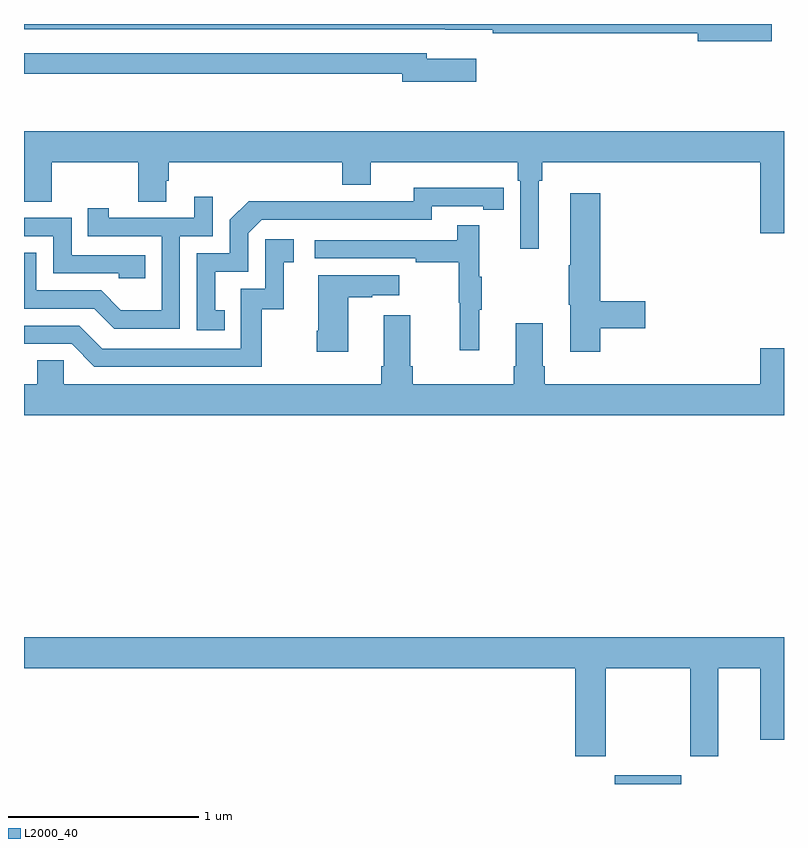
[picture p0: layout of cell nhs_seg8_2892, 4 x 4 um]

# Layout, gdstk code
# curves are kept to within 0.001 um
import gdstk
lib = gdstk.Library(unit=1e-6, precision=1e-09)
def R(c, l, rs):  # rectangles x0, y0, x1, y1
    for r in rs: c.add(gdstk.rectangle(r[:2], r[2:], *l))
def P(c, l, *ps):  # polygons
    for p in ps: c.add(gdstk.Polygon(p, *l))
L2000_40 = (2000, 40)

nhs_seg8_2892 = lib.new_cell('nhs_seg8_2892')
R(nhs_seg8_2892, L2000_40, [(296.108,1107.9,296.458,1107.946)])
P(nhs_seg8_2892, L2000_40, [(296.935,1111.9),(293,1111.9),(293,1111.872),(295.216,1111.872),(295.216,1111.871),(295.468,1111.871),(295.468,1111.852),(296.546,1111.852),(296.546,1111.81),(296.935,1111.81)],
  [(295.381,1111.717),(295.12,1111.717),(295.12,1111.746),(293,1111.746),(293,1111.638),(294.992,1111.638),(294.992,1111.595),(295.381,1111.595)],
  [(295.708,1111.076),(295.727,1111.076),(295.727,1111.172),(296.876,1111.172),(296.876,1110.798),(297,1110.798),(297,1111.336),(293,1111.336),(293,1110.964),(293.145,1110.964),(293.145,1111.172),(293.602,1111.172),(293.602,1110.964),(293.749,1110.964),(293.749,1111.074),(293.762,1111.074),(293.762,1111.172),(294.674,1111.172),(294.674,1111.055),(294.826,1111.055),(294.826,1111.172),(295.598,1111.172),(295.598,1111.076),(295.611,1111.076),(295.611,1110.717),(295.708,1110.717)],
  [(294.056,1110.393),(294.007,1110.393),(294.007,1110.597),(294.18,1110.597),(294.18,1110.798),(294.252,1110.87),(295.146,1110.87),(295.146,1110.942),(295.418,1110.942),(295.418,1110.922),(295.526,1110.922),(295.526,1111.038),(295.05,1111.039),(295.05,1110.966),(294.59,1110.966),(294.59,1110.968),(294.182,1110.968),(294.084,1110.87),(294.084,1110.693),(293.91,1110.693),(293.91,1110.288),(294.056,1110.288)],
  [(296.033,1110.298),(296.269,1110.298),(296.269,1110.44),(296.033,1110.44),(296.033,1111.009),(295.874,1111.009),(295.874,1110.629),(295.867,1110.629),(295.867,1110.423),(295.874,1110.423),(295.874,1110.174),(296.033,1110.174)],
  [(293.82,1110.783),(293.994,1110.783),(293.994,1110.991),(293.897,1110.991),(293.897,1110.879),(293.446,1110.879),(293.446,1110.931),(293.335,1110.931),(293.335,1110.783),(293.724,1110.783),(293.724,1110.394),(293.51,1110.394),(293.406,1110.498),(293.064,1110.498),(293.064,1110.697),(293,1110.697),(293,1110.402),(293.369,1110.402),(293.474,1110.297),(293.82,1110.297)],
  [(293.639,1110.684),(293.25,1110.684),(293.25,1110.879),(293,1110.879),(293,1110.783),(293.154,1110.783),(293.154,1110.588),(293.499,1110.588),(293.499,1110.561),(293.639,1110.561)],
  [(295.397,1110.395),(295.408,1110.395),(295.408,1110.569),(295.397,1110.569),(295.397,1110.841),(295.279,1110.841),(295.279,1110.762),(294.531,1110.762),(294.531,1110.666),(295.063,1110.666),(295.063,1110.646),(295.287,1110.646),(295.287,1110.432),(295.294,1110.432),(295.294,1110.183),(295.397,1110.183)],
  [(294.25,1110.399),(294.368,1110.399),(294.368,1110.645),(294.421,1110.645),(294.421,1110.766),(294.27,1110.766),(294.27,1110.507),(294.141,1110.507),(294.141,1110.192),(293.412,1110.192),(293.292,1110.312),(293,1110.312),(293,1110.216),(293.25,1110.216),(293.37,1110.096),(294.25,1110.096)],
  [(294.706,1110.463),(294.833,1110.463),(294.833,1110.473),(294.976,1110.473),(294.976,1110.577),(294.548,1110.577),(294.548,1110.286),(294.541,1110.286),(294.541,1110.174),(294.706,1110.174)],
  [(297,1110.193),(296.876,1110.193),(296.876,1110.004),(295.742,1110.004),(295.742,1110.1),(295.729,1110.1),(295.729,1110.325),(295.589,1110.325),(295.589,1110.1),(295.577,1110.1),(295.577,1110.004),(295.046,1110.004),(295.046,1110.1),(295.033,1110.1),(295.033,1110.367),(294.893,1110.367),(294.893,1110.1),(294.881,1110.1),(294.881,1110.004),(293.208,1110.004),(293.208,1110.131),(293.069,1110.131),(293.069,1110.004),(293,1110.004),(293,1109.84),(297,1109.84)],
  [(296.061,1108.508),(296.506,1108.508),(296.506,1108.047),(296.653,1108.047),(296.653,1108.508),(296.876,1108.508),(296.876,1108.134),(297,1108.134),(297,1108.672),(293,1108.672),(293,1108.508),(295.901,1108.508),(295.901,1108.047),(296.061,1108.047)])

lib.write_gds('nhs_seg8_2892.gds')
